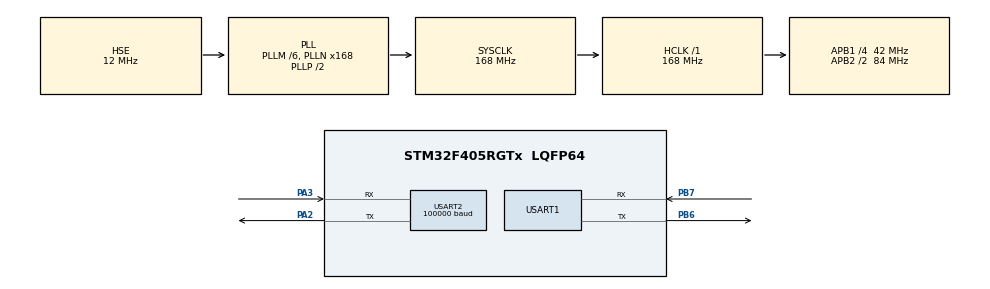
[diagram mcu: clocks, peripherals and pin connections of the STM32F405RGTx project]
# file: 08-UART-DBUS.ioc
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Dma.Request0=USART1_RX
Dma.Request1=USART1_TX
Dma.Request2=USART2_RX
Dma.USART1_RX.0.Direction=DMA_PERIPH_TO_MEMORY
Dma.USART1_RX.0.FIFOMode=DMA_FIFOMODE_DISABLE
Dma.USART1_RX.0.Instance=DMA2_Stream2
Dma.USART1_RX.0.MemDataAlignment=DMA_MDATAALIGN_BYTE
Dma.USART1_RX.0.MemInc=DMA_MINC_ENABLE
Dma.USART1_RX.0.Mode=DMA_CIRCULAR
Dma.USART1_RX.0.PeriphDataAlignment=DMA_PDATAALIGN_BYTE
Dma.USART1_RX.0.PeriphInc=DMA_PINC_DISABLE
Dma.USART1_RX.0.Priority=DMA_PRIORITY_VERY_HIGH
Dma.USART1_TX.1.Direction=DMA_MEMORY_TO_PERIPH
Dma.USART1_TX.1.FIFOMode=DMA_FIFOMODE_DISABLE
Dma.USART1_TX.1.Instance=DMA2_Stream7
Dma.USART1_TX.1.MemDataAlignment=DMA_MDATAALIGN_BYTE
Dma.USART1_TX.1.MemInc=DMA_MINC_ENABLE
Dma.USART1_TX.1.Mode=DMA_NORMAL
Dma.USART1_TX.1.PeriphDataAlignment=DMA_PDATAALIGN_BYTE
Dma.USART1_TX.1.PeriphInc=DMA_PINC_DISABLE
Dma.USART1_TX.1.Priority=DMA_PRIORITY_VERY_HIGH
Dma.USART2_RX.2.Direction=DMA_PERIPH_TO_MEMORY
Dma.USART2_RX.2.FIFOMode=DMA_FIFOMODE_DISABLE
Dma.USART2_RX.2.Instance=DMA1_Stream5
Dma.USART2_RX.2.MemDataAlignment=DMA_MDATAALIGN_BYTE
Dma.USART2_RX.2.MemInc=DMA_MINC_ENABLE
Dma.USART2_RX.2.Mode=DMA_CIRCULAR
Dma.USART2_RX.2.PeriphDataAlignment=DMA_PDATAALIGN_BYTE
Dma.USART2_RX.2.PeriphInc=DMA_PINC_DISABLE
Dma.USART2_RX.2.Priority=DMA_PRIORITY_VERY_HIGH
Mcu.Family=STM32F4
Mcu.Name=STM32F405RGTx
Mcu.Package=LQFP64
NVIC.DMA1_Stream5_IRQn=true\:0\:0\:false\:false\:true\:false\:true
NVIC.DMA2_Stream2_IRQn=true\:0\:0\:false\:false\:true\:false\:true
NVIC.DMA2_Stream7_IRQn=true\:0\:0\:false\:false\:true\:false\:true
NVIC.PriorityGroup=NVIC_PRIORITYGROUP_4
NVIC.USART1_IRQn=true\:0\:0\:true\:false\:true\:true\:true
NVIC.USART2_IRQn=true\:1\:0\:true\:false\:true\:true\:true
PA13.Mode=Serial_Wire
PA13.Signal=SYS_JTMS-SWDIO
PA14.Mode=Serial_Wire
PA14.Signal=SYS_JTCK-SWCLK
PA2.Mode=Asynchronous
PA2.Signal=USART2_TX
PA3.Mode=Asynchronous
PA3.Signal=USART2_RX
PB6.Mode=Asynchronous
PB6.Signal=USART1_TX
PB7.Mode=Asynchronous
PB7.Signal=USART1_RX
PH0-OSC_IN.Mode=HSE-External-Oscillator
PH0-OSC_IN.Signal=RCC_OSC_IN
PH1-OSC_OUT.Mode=HSE-External-Oscillator
PH1-OSC_OUT.Signal=RCC_OSC_OUT
ProjectManager.HeapSize=0x200
ProjectManager.StackSize=0x400
ProjectManager.TargetToolchain=MDK-ARM V5.27
RCC.48MHZClocksFreq_Value=84000000
RCC.AHBFreq_Value=168000000
RCC.APB1CLKDivider=RCC_HCLK_DIV4
RCC.APB1Freq_Value=42000000
RCC.APB1TimFreq_Value=84000000
RCC.APB2CLKDivider=RCC_HCLK_DIV2
RCC.APB2Freq_Value=84000000
RCC.APB2TimFreq_Value=168000000
RCC.CortexFreq_Value=168000000
RCC.HCLKFreq_Value=168000000
RCC.HSE_VALUE=12000000
RCC.HSI_VALUE=16000000
RCC.LSE_VALUE=32768
RCC.PLLM=6
RCC.PLLN=168
RCC.PLLSourceVirtual=RCC_PLLSOURCE_HSE
RCC.SYSCLKFreq_VALUE=168000000
RCC.SYSCLKSource=RCC_SYSCLKSOURCE_PLLCLK
RCC.VCOOutputFreq_Value=336000000
USART1.VirtualMode=VM_ASYNC
USART2.BaudRate=100000
USART2.Mode=MODE_RX
USART2.Parity=PARITY_EVEN
USART2.VirtualMode=VM_ASYNC
board=custom

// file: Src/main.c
/* USER CODE BEGIN Header */
/**
  ******************************************************************************
  * @file           : main.c
  * @brief          : Main program body
  ******************************************************************************
  * @attention
  *
  * <h2><center>&copy; Copyright (c) 2020 STMicroelectronics.
  * All rights reserved.</center></h2>
  *
  * This software component is licensed by ST under BSD 3-Clause license,
  * the "License"; You may not use this file except in compliance with the
  * License. You may obtain a copy of the License at:
  *                        opensource.org/licenses/BSD-3-Clause
  *
  ******************************************************************************
  */
/* USER CODE END Header */
#include "main.h"
#include "dma.h"
#include "usart.h"
#include "gpio.h"

/* USER CODE BEGIN Includes */
#include <stdio.h>
#include <stdarg.h>
#include "string.h"
#include "Dbus.h"
/* USER CODE END Includes */

/* USER CODE BEGIN PV */
extern REMOTE_CONTROL RC;
/* USER CODE END PV */

void SystemClock_Config(void);

/* USER CODE BEGIN 0 */
void usart_printf(const char *fmt,...)
{
    static uint8_t tx_buf[256] = {0};
    static va_list ap;
    static uint16_t len;
    va_start(ap, fmt);

    //return length of string
    //返回字符串长度
    len = vsprintf((char *)tx_buf, fmt, ap);

    va_end(ap);

    HAL_UART_Transmit_DMA(&huart1,tx_buf,len);

}
/* USER CODE END 0 */

int main(void)
{

  /* MCU Configuration--------------------------------------------------------*/

  /* Reset of all peripherals, Initializes the Flash interface and the Systick. */
  HAL_Init();

  /* Configure the system clock */
  SystemClock_Config();

  /* Initialize all configured peripherals */
  MX_GPIO_Init();
  MX_DMA_Init();
  MX_USART1_UART_Init();
  MX_USART2_UART_Init();
  /* USER CODE BEGIN 2 */
	remote_control_init();
  /* USER CODE END 2 */

  /* Infinite loop */
  /* USER CODE BEGIN WHILE */
  while (1)
  {
		if((HAL_GetTick()-RC.last_time)>20)
		{
			set_remote_default();
			usart_printf("#============#\r\ndbus over time\r\n#============#\r\n");
		}
		else
			usart_printf(
"Lx=%d\r\n\
Ly=%d\r\n\
Ls=%d\r\n\
Rx=%d\r\n\
Ry=%d\r\n\
Rs=%d\r\n\
Key=%d\r\n\
Mx=%d\r\n\
My=%d\r\n\
Mz=%d\r\n\
Pl=%d\r\n\
Pr=%d\r\n\
Time=%d\r\n",
RC.l_x,
RC.l_y,
RC.l_s,
RC.r_x,
RC.r_y,
RC.r_s,
RC.key,
RC.m_x,
RC.m_y,
RC.m_z,
RC.press_l,
RC.press_r,
RC.last_time);
HAL_Delay(100);
    /* USER CODE END WHILE */

  }
}

void SystemClock_Config(void)
{
  RCC_OscInitTypeDef RCC_OscInitStruct = {0};
  RCC_ClkInitTypeDef RCC_ClkInitStruct = {0};

  /** Configure the main internal regulator output voltage
  */
  __HAL_RCC_PWR_CLK_ENABLE();
  __HAL_PWR_VOLTAGESCALING_CONFIG(PWR_REGULATOR_VOLTAGE_SCALE1);
  /** Initializes the RCC Oscillators according to the specified parameters
  * in the RCC_OscInitTypeDef structure.
  */
  RCC_OscInitStruct.OscillatorType = RCC_OSCILLATORTYPE_HSE;
  RCC_OscInitStruct.HSEState = RCC_HSE_ON;
  RCC_OscInitStruct.PLL.PLLState = RCC_PLL_ON;
  RCC_OscInitStruct.PLL.PLLSource = RCC_PLLSOURCE_HSE;
  RCC_OscInitStruct.PLL.PLLM = 6;
  RCC_OscInitStruct.PLL.PLLN = 168;
  RCC_OscInitStruct.PLL.PLLP = RCC_PLLP_DIV2;
  RCC_OscInitStruct.PLL.PLLQ = 4;
  if (HAL_RCC_OscConfig(&RCC_OscInitStruct) != HAL_OK)
  {
    Error_Handler();
  }
  /** Initializes the CPU, AHB and APB buses clocks
  */
  RCC_ClkInitStruct.ClockType = RCC_CLOCKTYPE_HCLK|RCC_CLOCKTYPE_SYSCLK
                              |RCC_CLOCKTYPE_PCLK1|RCC_CLOCKTYPE_PCLK2;
  RCC_ClkInitStruct.SYSCLKSource = RCC_SYSCLKSOURCE_PLLCLK;
  RCC_ClkInitStruct.AHBCLKDivider = RCC_SYSCLK_DIV1;
  RCC_ClkInitStruct.APB1CLKDivider = RCC_HCLK_DIV4;
  RCC_ClkInitStruct.APB2CLKDivider = RCC_HCLK_DIV2;

  if (HAL_RCC_ClockConfig(&RCC_ClkInitStruct, FLASH_LATENCY_5) != HAL_OK)
  {
    Error_Handler();
  }
}

void Error_Handler(void)
{
}

/************************ (C) COPYRIGHT STMicroelectronics *****END OF FILE****/
